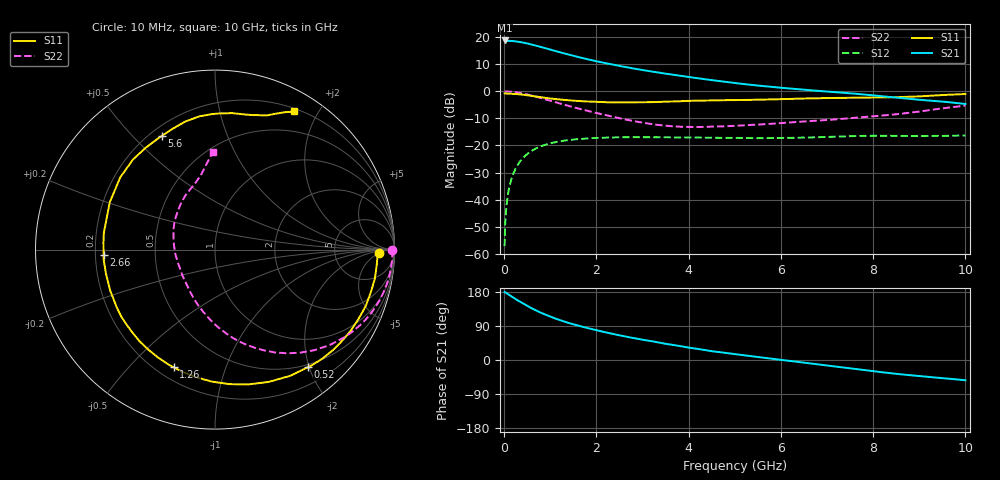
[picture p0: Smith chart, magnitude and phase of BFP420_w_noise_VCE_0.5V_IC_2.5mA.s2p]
! Infineon Technologies  Discrete & RF Semiconductors
! BFP420
! VCE =  0.5 V,  IC =  2.5 mA
! Common Emitter S-Parameters:  Jan 2016
# GHz  S  MA  R  50
!  f  S11  S21  S12  S22
! GHz  MAG  ANG  MAG  ANG  MAG  ANG  MAG  ANG
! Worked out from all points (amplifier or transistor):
!   233 points, 10 MHz to 10 GHz, reference 50 ohm
!   highest |S21| = 18.7 dB at 10 MHz (marker M1)
!   |S21| within 3 dB of that: start of sweep to 924.1 MHz
!   unconditionally stable (mu >= 1): 3.684 GHz to end of sweep
!   at 200 MHz: K = 0.04, MSG = 24.4 dB, |S12| = -30.4 dB
!   at 1.74 GHz: K = 0.45, MSG = 14.7 dB, |S12| = -17.5 dB
!   at 10 GHz: K = 1.15, MAG = 3.4 dB, |S12| = -16.3 dB
!   lowest NFmin = 0.55 dB at 900 MHz
!   S11 on the Smith chart (normalised r, x): 10 MHz: 20, -5; 520 MHz: 0.46, -1.98; 1.26 GHz: 0.27, -0.68; 2.66 GHz: 0.23, -0.02; 5.6 GHz: 0.25, +0.61; 10 GHz: 0.24, +1.70
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0.01  0.912 -1.3  8.59 179.3  0.0014 91.6  0.9873 -0.2
0.02  0.9063 -2.1  8.383 178.9  0.0032 86.8  0.989 -1.4
0.045  0.9054 -4.6  8.415 176.6  0.0069 87.9  0.9883 -3.2
0.135  0.9008 -13.9  8.433 169.6  0.0207 81.6  0.9797 -9.6
0.2  0.8966 -20.5  8.358 164.5  0.0303 77.9  0.9687 -14.3
0.34  0.8735 -34.6  8.055 153.9  0.05 69.6  0.9311 -23.8
0.52  0.8349 -51.7  7.495 141.5  0.0717 59.8  0.8635 -35.0
0.62  0.8128 -60.8  7.155 135.0  0.0819 54.8  0.8227 -40.8
0.8  0.774 -76.0  6.51 124.5  0.0972 47.0  0.747 -50.2
1.02  0.7311 -92.9  5.773 113.5  0.1108 38.8  0.6593 -60.2
1.26  0.6951 -109.3  5.068 103.3  0.1213 31.6  0.5762 -69.6
1.42  0.6769 -119.2  4.664 97.0  0.1265 27.4  0.5282 -75.4
1.68  0.6537 -133.7  4.112 88.2  0.1327 21.6  0.4617 -83.7
2.2  0.6273 -158.4  3.276 72.9  0.1399 12.4  0.3614 -99.2
2.66  0.6217 -177.2  2.754 61.3  0.142 5.9  0.2974 -113.3
3.4  0.6359 158.7  2.163 45.1  0.1416 -1.8  0.2358 -137.8
4.5  0.6787 132.3  1.597 23.3  0.1391 -9.7  0.2227 -174.3
5.1  0.6874 122.8  1.382 13.9  0.1373 -12.2  0.2319 171.4
5.6  0.699 115.2  1.245 6.3  0.1367 -13.9  0.2448 160.8
6.8  0.7405 99.1  1.015 -11.5  0.1422 -17.6  0.2868 138.8
8.4  0.7722 76.8  0.777 -35.2  0.1503 -27.3  0.3683 110.7
10  0.8859 60.3  0.581 -53.4  0.1527 -33.2  0.5421 91.3
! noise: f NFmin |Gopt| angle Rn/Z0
0.9  0.55  0.41  33  0.2
1.8  1.02  0.24  78  0.16
2.4  1.11  0.26  103  0.15
3  1.28  0.27  140  0.11
4  1.5  0.34  -163  0.1
5  1.85  0.4  -130  0.26
6  2.56  0.5  -109  0.35
